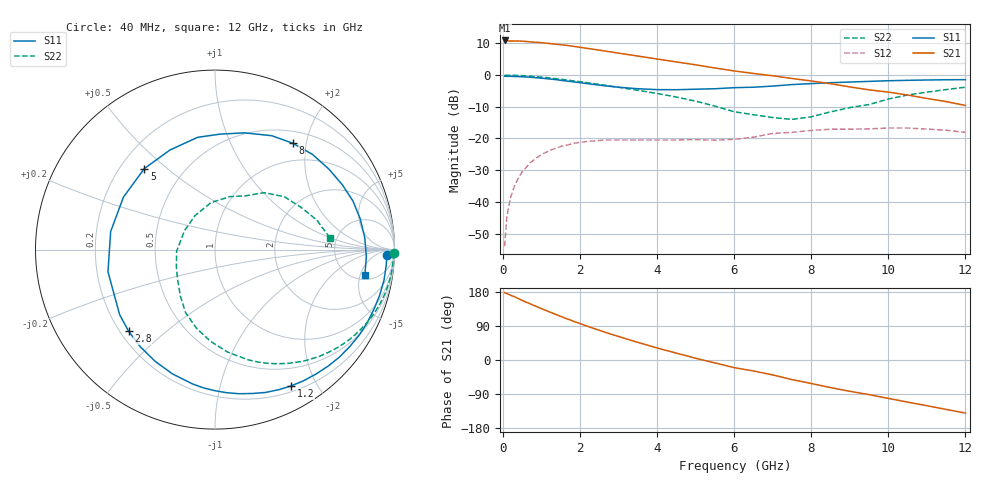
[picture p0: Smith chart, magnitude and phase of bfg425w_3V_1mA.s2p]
! Filename: 31bfg425.001
! BFG425W Field C1
! V1=7.859E-001V,V2=3.000E+000V, I1=1.141E-005A, I2=1.000E-003A
# GHz  S  MA  R 50
!  S11  S21  S12  S22
!Freq(GHz)  Mag  Ang  Mag  Ang  Mag  Ang  Mag  Ang
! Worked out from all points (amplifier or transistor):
!   44 points, 40 MHz to 12 GHz, reference 50 ohm
!   highest |S21| = 10.9 dB at 40 MHz (marker M1)
!   |S21| within 3 dB of that: start of sweep to 2.466 GHz
!   unconditionally stable (mu >= 1): 3.398 GHz to end of sweep
!   at 700 MHz: K = 0.12, MSG = 19.1 dB, |S12| = -27.7 dB
!   at 2.4 GHz: K = 0.56, MSG = 14.4 dB, |S12| = -20.7 dB
!   at 12 GHz: K = 2.20, MAG = -2.0 dB, |S12| = -18.1 dB
!   S11 on the Smith chart (normalised r, x): 40 MHz: 29, -23; 1.2 GHz: 0.27, -1.67; 2.8 GHz: 0.23, -0.38; 5 GHz: 0.30, +0.42; 8 GHz: 0.69, +1.76; 12 GHz: 5.98, -5.99
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0.04  0.958 -1.9  3.52 177.6  0.002 71.7  0.996 -1.2
0.1  0.958 -5.2  3.458 175.3  0.006 86.4  0.995 -3.0
0.2  0.957 -10.3  3.451 170.7  0.012 82.1  0.993 -5.9
0.3  0.952 -15.5  3.441 166.9  0.018 78.7  0.99 -8.8
0.5  0.941 -25.7  3.43 157.1  0.03 71.7  0.978 -14.6
0.7  0.925 -35.8  3.344 148.4  0.041 64.7  0.961 -20.2
1  0.893 -50.9  3.243 135.4  0.056 54.6  0.927 -28.4
1.2  0.87 -60.8  3.152 127.1  0.064 48.2  0.902 -33.6
1.7  0.8 -85.3  2.917 107.2  0.08 33.6  0.831 -45.8
2.2  0.732 -108.9  2.634 88.7  0.09 20.9  0.756 -56.9
2.8  0.662 -136.7  2.319 68.3  0.095 8.6  0.67 -69.1
3.5  0.609 -168.3  1.997 46.5  0.095 -2.1  0.576 -82.9
4  0.59 170.1  1.793 31.7  0.095 -7.9  0.512 -92.7
4.5  0.588 150.1  1.614 18.1  0.095 -11.8  0.451 -103.1
5  0.599 131.1  1.452 4.6  0.096 -16.6  0.388 -114.9
6  0.633 98.8  1.163 -20.2  0.097 -23.7  0.264 -142.4
6.5  0.644 87.4  1.061 -28.9  0.105 -17.5  0.237 -155.2
7.5  0.709 63.5  0.884 -51.9  0.125 -32.8  0.2 147.8
8  0.734 53.8  0.808 -62.0  0.134 -38.6  0.22 120.3
8.5  0.759 44.4  0.732 -72.8  0.14 -47.2  0.263 94.8
10.5  0.827 12.0  0.485 -111.1  0.146 -81.3  0.486 37.4
12  0.847 -9.6  0.332 -140.1  0.125 -113.3  0.644 5.7
